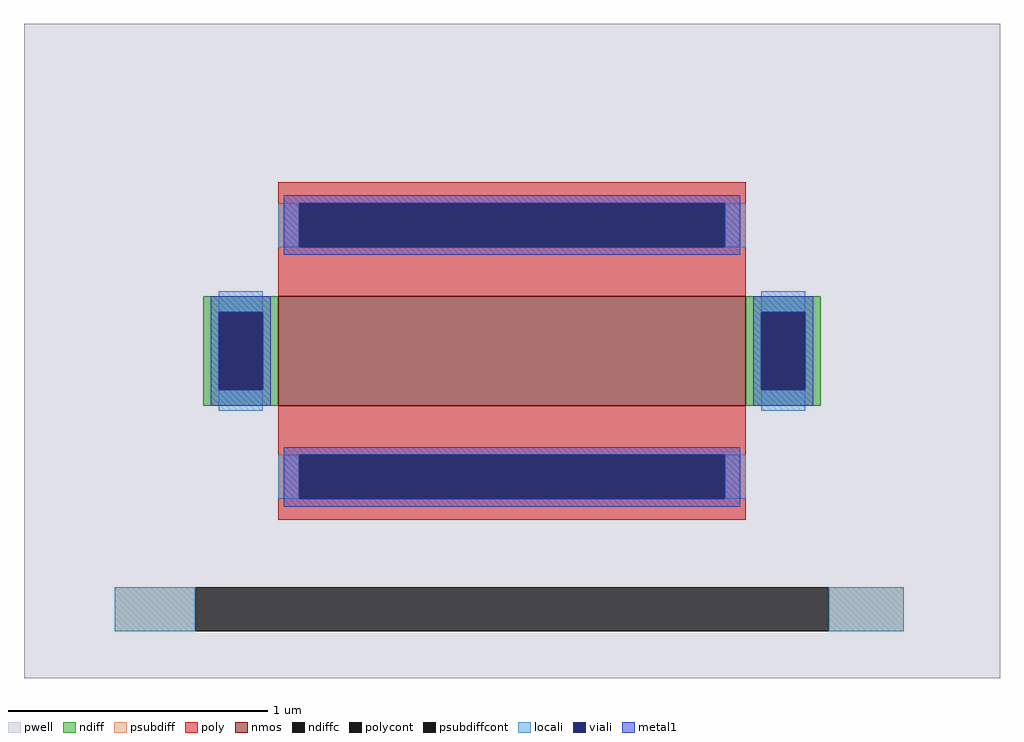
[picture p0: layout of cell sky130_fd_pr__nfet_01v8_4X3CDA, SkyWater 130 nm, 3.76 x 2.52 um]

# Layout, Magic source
magic
tech sky130A
<< pwell >>
rect -188 -126 188 126
<< nmos >>
rect -90 -21 90 21
<< ndiff >>
rect -119 15 -90 21
rect -119 -15 -113 15
rect -96 -15 -90 15
rect -119 -21 -90 -15
rect 90 15 119 21
rect 90 -15 96 15
rect 113 -15 119 15
rect 90 -21 119 -15
<< ndiffc >>
rect -113 -15 -96 15
rect 96 -15 113 15
<< psubdiff >>
rect -153 -108 -122 -91
rect 122 -108 151 -91
<< psubdiffcont >>
rect -122 -108 122 -91
<< poly >>
rect -90 57 90 65
rect -90 40 -82 57
rect 82 40 90 57
rect -90 21 90 40
rect -90 -40 90 -21
rect -90 -57 -82 -40
rect 82 -57 90 -40
rect -90 -65 90 -57
<< polycont >>
rect -82 40 82 57
rect -82 -57 82 -40
<< locali >>
rect -90 40 -82 57
rect 82 40 90 57
rect -113 15 -96 23
rect -113 -23 -96 -15
rect 96 15 113 23
rect 96 -23 113 -15
rect -90 -57 -82 -40
rect 82 -57 90 -40
rect -153 -108 -122 -91
rect 122 -108 151 -91
<< viali >>
rect -82 40 82 57
rect -113 -15 -96 15
rect 96 -15 113 15
rect -82 -57 82 -40
<< metal1 >>
rect -88 57 88 60
rect -88 40 -82 57
rect 82 40 88 57
rect -88 37 88 40
rect -116 15 -93 21
rect -116 -15 -113 15
rect -96 -15 -93 15
rect -116 -21 -93 -15
rect 93 15 116 21
rect 93 -15 96 15
rect 113 -15 116 15
rect 93 -21 116 -15
rect -88 -40 88 -37
rect -88 -57 -82 -40
rect 82 -57 88 -40
rect -88 -60 88 -57
<< properties >>
string FIXED_BBOX -161 -99 161 99
string gencell sky130_fd_pr__nfet_01v8
string library sky130
string parameters w 0.42 l 1.8 m 1 nf 1 diffcov 100 polycov 100 guard 1 glc 1 grc 1 gtc 1 gbc 1 tbcov 100 rlcov 100 topc 1 botc 1 poverlap 0 doverlap 1 lmin 0.15 wmin 0.42 compatible {sky130_fd_pr__nfet_01v8 sky130_fd_pr__nfet_01v8_lvt  sky130_fd_bs_flash__special_sonosfet_star  sky130_fd_pr__nfet_g5v0d10v5 sky130_fd_pr__nfet_05v0_nvt  sky130_fd_pr__nfet_03v3_nvt} full_metal 1 viasrc 100 viadrn 100 viagate 100 viagb 0 viagr 0 viagl 0 viagt 0
<< end >>
